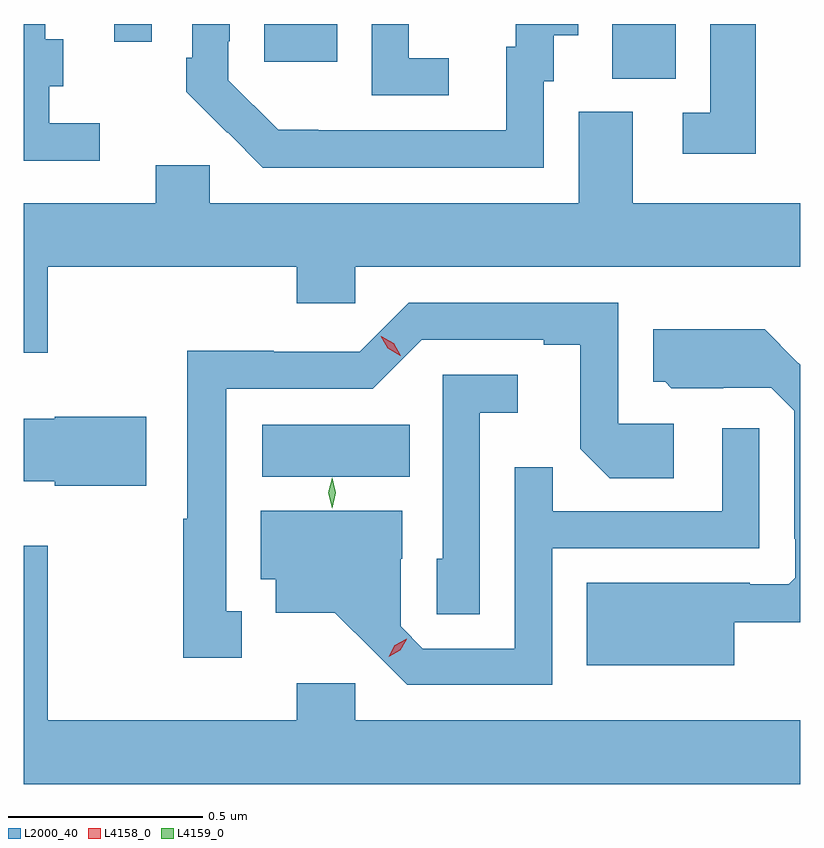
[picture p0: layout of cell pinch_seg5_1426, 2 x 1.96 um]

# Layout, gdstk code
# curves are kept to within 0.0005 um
import gdstk
lib = gdstk.Library(unit=1e-6, precision=1e-09)
def R(c, l, rs):  # rectangles x0, y0, x1, y1
    for r in rs: c.add(gdstk.rectangle(r[:2], r[2:], *l))
def P(c, l, *ps):  # polygons
    for p in ps: c.add(gdstk.Polygon(p, *l))
L2000_40 = (2000, 40)
L4158_0 = (4158, 0)
L4159_0 = (4159, 0)

pinch_seg5_1426 = lib.new_cell('pinch_seg5_1426')
R(pinch_seg5_1426, L2000_40, [(144.258,904.172,144.638,904.306), (145.16,905.197,145.324,905.338), (144.263,905.241,144.451,905.338), (143.877,905.292,143.973,905.338)])
P(pinch_seg5_1426, L2000_40, [(144.739,905.25),(144.636,905.25),(144.636,905.338),(144.54,905.338),(144.54,905.154),(144.739,905.154)],
  [(144.984,905.19),(145.009,905.19),(145.009,905.309),(145.072,905.309),(145.072,905.338),(144.911,905.338),(144.911,905.28),(144.887,905.28),(144.887,905.064),(144.403,905.064),(144.403,905.065),(144.3,905.065),(144.171,905.193),(144.171,905.293),(144.174,905.293),(144.174,905.338),(144.078,905.338),(144.078,905.251),(144.063,905.251),(144.063,905.163),(144.168,905.058),(144.169,905.059),(144.26,904.968),(144.984,904.968)],
  [(143.839,905.082),(143.71,905.082),(143.71,905.177),(143.746,905.177),(143.746,905.299),(143.699,905.299),(143.699,905.338),(143.644,905.338),(143.644,904.986),(143.839,904.986)],
  [(145.529,905.338),(145.413,905.338),(145.413,905.109),(145.341,905.109),(145.341,905.004),(145.529,905.004)],
  [(143.705,904.712),(144.347,904.712),(144.347,904.619),(144.498,904.619),(144.498,904.712),(145.644,904.712),(145.644,904.876),(145.213,904.876),(145.213,905.112),(145.073,905.112),(145.073,904.876),(144.123,904.876),(144.123,904.974),(143.984,904.974),(143.984,904.876),(143.644,904.876),(143.644,904.491),(143.705,904.491)],
  [(144.205,903.825),(144.166,903.825),(144.166,904.398),(144.543,904.398),(144.669,904.524),(144.983,904.524),(144.983,904.512),(145.077,904.512),(145.077,904.244),(145.153,904.168),(145.318,904.168),(145.318,904.308),(145.176,904.308),(145.176,904.62),(144.636,904.62),(144.51,904.494),(144.288,904.494),(144.288,904.496),(144.065,904.496),(144.065,904.064),(144.055,904.064),(144.055,903.705),(144.205,903.705)],
  [(145.474,903.797),(145.644,903.797),(145.644,904.46),(145.553,904.552),(145.265,904.552),(145.265,904.416),(145.296,904.416),(145.312,904.4),(145.446,904.4),(145.446,904.401),(145.569,904.401),(145.629,904.341),(145.629,904.012),(145.632,904.012),(145.632,903.912),(145.614,903.894),(145.514,903.894),(145.514,903.898),(145.094,903.898),(145.094,903.686),(145.474,903.686)],
  [(144.819,904.337),(144.916,904.337),(144.916,904.434),(144.723,904.434),(144.723,903.96),(144.708,903.96),(144.708,903.817),(144.819,903.817)],
  [(143.959,904.326),(143.724,904.326),(143.724,904.321),(143.644,904.321),(143.644,904.16),(143.724,904.16),(143.724,904.148),(143.959,904.148)],
  [(145.005,903.987),(145.539,903.987),(145.539,904.297),(145.443,904.297),(145.443,904.083),(145.007,904.083),(145.007,904.196),(144.909,904.196),(144.909,903.729),(144.672,903.729),(144.615,903.786),(144.615,903.96),(144.619,903.96),(144.619,904.084),(144.254,904.084),(144.254,903.908),(144.293,903.908),(144.293,903.821),(144.445,903.821),(144.632,903.636),(145.005,903.636)],
  [(143.644,903.994),(143.644,903.38),(145.644,903.38),(145.644,903.544),(144.498,903.544),(144.498,903.64),(144.347,903.64),(144.347,903.544),(143.705,903.544),(143.705,903.994)])
P(pinch_seg5_1426, L4158_0, [(144.614,904.483),(144.582,904.502),(144.564,904.534),(144.564,904.534),(144.565,904.534),(144.597,904.515),(144.615,904.483),(144.615,904.483)],
  [(144.584,903.708),(144.584,903.708),(144.6,903.738),(144.63,903.754),(144.631,903.754),(144.631,903.753),(144.614,903.724),(144.584,903.708)])
P(pinch_seg5_1426, L4159_0, [(144.438,904.091),(144.438,904.091),(144.428,904.13),(144.438,904.169),(144.438,904.169),(144.438,904.169),(144.448,904.13),(144.438,904.091)])

lib.write_gds('pinch_seg5_1426.gds')
